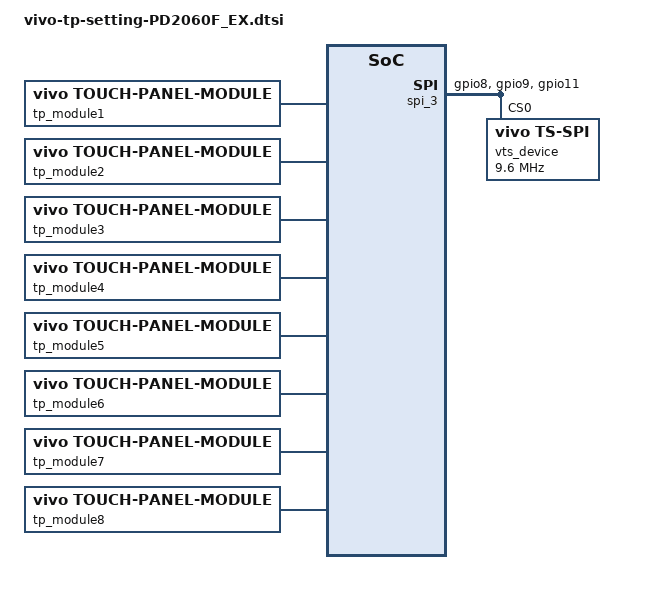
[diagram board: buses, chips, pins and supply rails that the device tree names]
&soc {
	tp_module1 {
		compatible = "vivo,touch-panel-module";
		vts-ic-number=<82>;
		vts-type=<0>;
		vts-lcmid=<49>;//CPD2016 0x31 BOE NT36525B
		vts-dimention-x=<720>;
		vts-dimention-y=<1600>;
		vts-tx-sensors=<18>;
		vts-rx-sensors=<32>;
		vts-incell=<1>;
		vts-need-caliberation=<0>;
		vts-virtual-proximinity=<0>;
		vts-long-press=<0>;
		vts-module-vendor=<0xF0>;
		vts-no-flash=<1>;
		vts-gesture=<1>;
		//vts-sleep-time=<50>;
	};
	tp_module2 {
		compatible = "vivo,touch-panel-module";
		vts-ic-number=<90>;
		vts-type=<0>;
		vts-lcmid=<17>;//0x11  ili9881 
		vts-dimention-x=<720>;
		vts-dimention-y=<1600>;
		vts-tx-sensors=<18>;
		vts-rx-sensors=<32>;
		vts-incell=<1>;
		vts-need-caliberation=<0>;
		vts-virtual-proximinity=<0>;
		vts-long-press=<0>;
		vts-module-vendor=<0xF0>;
		vts-no-flash=<1>;
	};
	tp_module3 {
		compatible = "vivo,touch-panel-module";
		vts-ic-number=<82>;
		vts-type=<0>;
		vts-lcmid=<161>;//CPD2016 0xA1 TXD NT36525B
		vts-dimention-x=<720>;
		vts-dimention-y=<1600>;
		vts-tx-sensors=<18>;
		vts-rx-sensors=<32>;
		vts-incell=<1>;
		vts-need-caliberation=<0>;
		vts-virtual-proximinity=<0>;
		vts-long-press=<0>;
		vts-module-vendor=<0xF0>;
		vts-no-flash=<1>;
		vts-gesture=<1>;
	};
	tp_module4 {
		compatible = "vivo,touch-panel-module";
		vts-ic-number=<82>;
		vts-type=<0>;
		vts-lcmid=<177>;//CPD2016 0xb1 inx NT36525B
		vts-dimention-x=<720>;
		vts-dimention-y=<1600>;
		vts-tx-sensors=<18>;
		vts-rx-sensors=<32>;
		vts-incell=<1>;
		vts-need-caliberation=<0>;
		vts-virtual-proximinity=<0>;
		vts-long-press=<0>;
		vts-module-vendor=<0xF0>;
		vts-no-flash=<1>;
		vts-gesture=<1>;
	};
	tp_module5 {
		compatible = "vivo,touch-panel-module";
		vts-ic-number=<82>;
		vts-type=<0>;
		vts-lcmid=<178>;//CPD2016 0xb1 inx NT36525B  G5
		vts-dimention-x=<720>;
		vts-dimention-y=<1600>;
		vts-tx-sensors=<18>;
		vts-rx-sensors=<32>;
		vts-incell=<1>;
		vts-need-caliberation=<0>;
		vts-virtual-proximinity=<0>;
		vts-long-press=<0>;
		vts-module-vendor=<0xF0>;
		vts-no-flash=<1>;
		vts-gesture=<1>;
	};
	tp_module6 {
		compatible = "vivo,touch-panel-module";
		vts-ic-number=<91>;
		vts-type=<0>;
		vts-lcmid=<18>;//0x12   ILI9882N  
		vts-dimention-x=<720>;
		vts-dimention-y=<1600>;
		vts-tx-sensors=<18>;
		vts-rx-sensors=<32>;
		vts-incell=<1>;
 		vts-need-caliberation=<0>;
 		vts-virtual-proximinity=<0>;
 		vts-long-press=<0>;
		vts-module-vendor=<0xF0>;
		vts-game-mode=<1>;
		vts-gesture=<0>;
		vts-no-flash=<1>;
	};
	tp_module7 {
		compatible = "vivo,touch-panel-module";
		vts-ic-number=<37>;
		vts-type=<0>;
		vts-lcmid=<65>;//0x41   8016
		vts-dimention-x=<720>;
		vts-dimention-y=<1600>;
		vts-tx-sensors=<18>;
		vts-rx-sensors=<32>;
		vts-incell=<1>;
 		vts-need-caliberation=<0>;
 		vts-virtual-proximinity=<0>;
 		vts-long-press=<0>;
		vts-module-vendor=<0xF0>;
		vts-game-mode=<1>;
		vts-gesture=<0>;
		vts-no-flash=<1>;
		//vts-report-timestamp=<1>;
	};
	tp_module8 {
		compatible = "vivo,touch-panel-module";
		vts-ic-number=<90>;
		vts-type=<0>;
		vts-lcmid=<19>;//0x13  ili9881 1211720 
		vts-dimention-x=<720>;
		vts-dimention-y=<1600>;
		vts-tx-sensors=<18>;
		vts-rx-sensors=<32>;
		vts-incell=<1>;
		vts-need-caliberation=<0>;
		vts-virtual-proximinity=<0>;
		vts-long-press=<0>;
		vts-module-vendor=<0xF0>;
		vts-no-flash=<1>;
	};

};

&tlmm{

			spi3_tp_default: spi3_tp_default {
				/* active state */
				mux {
					/* MOSI, MISO, CLK */
					pins = "gpio8", "gpio9", "gpio11";
					function = "blsp_spi3";
				};

				config {
					pins = "gpio8", "gpio9", "gpio11";
					drive-strength = <8>; /* 8  MA */
					bias-disable = <0>; /* No PULL */
				};
			};
			spi3_cs0_tp_sleep: spi3_cs0_tp_sleep {
				mux {
				pins = "gpio10";
					function = "gpio";
				};

				config {
					pins = "gpio10";
					drive-strength = <2>;
					bias-disable = <0>;
					output-high;
				};
			};

};
&spi_3 {
	status = "okay";
	qcom,rt;
	pinctrl-0 = <&spi3_tp_default &spi3_cs0_active>;
	pinctrl-1 = <&spi3_sleep &spi3_cs0_tp_sleep>;
	vts_device@0 {
		compatible = "vivo,ts-spi";
		status = "okay";
		reg=<0>;
		spi-max-frequency = <9600000>;	//4800000,9600000,15000000,19200000
		nt36675 {
			compatible = "novatek,NVT-ts-spi-v2";
			status = "ok";
			vts-type=<0>;
			vts-ic-number=<82>;
			spi-max-frequency = <9600000>;	//4800000,9600000,15000000,19200000
			//novatek,reset-gpio = <&tlmm 64 0x00>;
			novatek,irq-gpio = <&tlmm 65 0x2001>;
			//novatek,cs-gpio = <&tlmm 80 0x00>;
			
			sensor-test-key="com.nttouchscreen.mptest:MainActivity:android.intent.action.novatek:0:testResult";
			lcm-noise-test-key="com.nt36xxxtouchscreen.deltadiff:MainActivity:null:null:null";
			rawdata-test-key="com.nttouchscreen.getdata:MainActivity:null:null:null";
			rf-noise-test-key="com.nt36xxxtouchscreen.deltadiff:BspTest:android.intent.action.nvtdeltadiff:0:testResult";

			//vts-incell-panel=<&dsi_pd2034_boe_nt36525b_hdplus_video &dsi_pd2034_txd_nt36525b_hdplus_video &dsi_pd2034_inx_nt36525b_hdplus_video //&dsi_pd2034_inxg5_nt36525b_hdplus_video>;

			novatek,swrst-n8-addr = <0x03F0FE>;
		};
		ili9881h {
			compatible = "ilitek,ILI-ts-spi-v2";
			status = "ok";
			vts-type=<0>;
			vts-ic-number=<90>;
			spi-max-frequency = <9600000>;	//4800000,9600000,15000000,19200000
			ilitek,reset-gpio = <&tlmm 64 0x00>;
			ilitek,irq-gpio = <&tlmm 65 0x2001>;
			
			sensor-test-key="com.ilitek.touchscreen.tptest:MainActivity:com.ilitek.touchscreen.action.tptest:0:ILITEK_TpTestResult";
			lcm-noise-test-key="com.ilitek.touchscreen.noisev2:MainActivity:null:null:null"; 
			rawdata-test-key="com.ilitek.touchscreen.noisev2:DataShowActivity:null:null:null";
			rf-noise-test-key="com.ilitek.touchscreen.noisev2:BspTestActivity:com.ilitek.touchscreen.action.noisetest:0:ILITEK_TpTestResult";
			//vts-incell-panel=<&dsi_pd2034_tm_ili9881h_hdplus_video>;
			
		};
		
		ili_9882n {
			status = "okay";
			compatible = "tchip,ilitek";
			vts-type=<0>;
			vts-ic-number=<91>;
			spi-max-frequency = <9600000>;
			touch,reset-gpio = <&tlmm 64 0x00>;
			touch,irq-gpio = <&tlmm 65 0x00>;

			sensor-test-key="com.ilitek.touchscreen.tptest3X:MP3XActivity:com.ilitek.touchscreen.action.tptest:0:ILITEK_TpTestResult";
			lcm-noise-test-key="com.ilitek.touchscreen.noisev2:MainActivity:null:null:null"; 
			rawdata-test-key="com.ilitek.touchscreen.noisev2:DataShowActivity:null:null:null";
			rf-noise-test-key="com.ilitek.touchscreen.noisev2:BspTestActivity:com.ilitek.touchscreen.action.noisetest:0:ILITEK_TpTestResult";
			//vts-incell-panel=<&dsi_pd2034_tm_ili9882n_hdplus_video>;
		};
		ft8016 {
			compatible = "focaltech,ft8756_v2";
			vts-type=<0>;
			vts-ic-number=<37>;
			spi-max-frequency = <8000000>;	//4800000,9600000,15000000,19200000
			focaltech,reset-gpio = <&tlmm 64 0x00>;
			focaltech,irq-gpio = <&tlmm 65 0x02>;
			focaltech,max-touch-number = <10>;
			focaltech,display-coords = <0 0 720 1600>;
			focaltech,ic_name = "ft8016";
			sensor-test-key="com.focaltouchscreen.sensortest:MainActivity:com.focaltouchscreen.sensortest:0:focal_test_result";
			lcm-noise-test-key="com.focaltech.deltadiff:MainActivity:null:null:null";
			rawdata-test-key="com.focaltech.deltadiff:DataActivity:null:null:null";
			rf-noise-test-key="com.focaltech.deltadiff:BspTestActivity:com.focaltech.deltadiff:0:testResult";
			//vts-incell-panel=<&dsi_pd2034_auo_ft8016_hdplus_video>;
			
		};
	};
};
